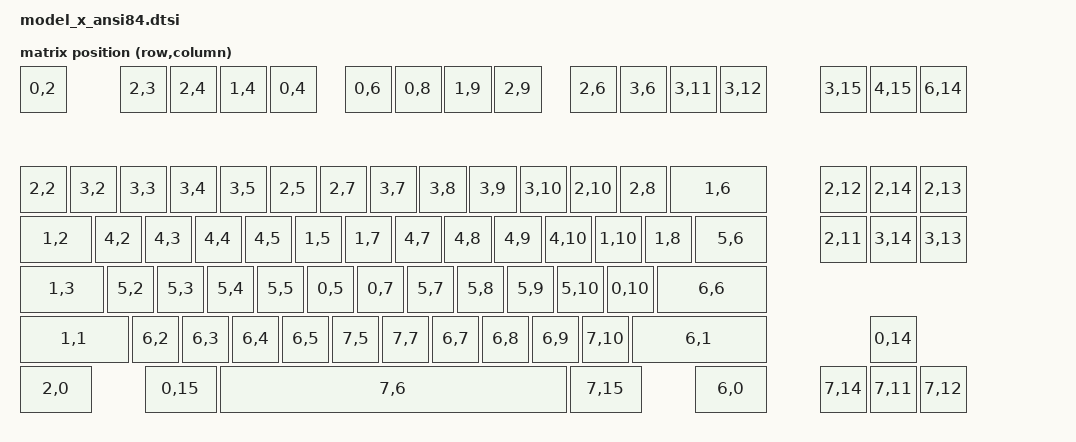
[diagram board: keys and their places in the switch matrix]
#include <dt-bindings/zmk/matrix_transform.h>
#include <physical_layouts.dtsi>

/ {

    ansi84_ph_layout: ansi84_ph_layout {
        compatible = "zmk,physical-layout";
        display-name = "ANSI 84";
        transform = <&ansi84_matrix_transform>;
        kscan = <&unified_kscan>;
        
        
        
        keys  //                     w   h    x    y     rot    rx    ry
            = <&key_physical_attrs 100 100    0    0       0     0     0>
            , <&key_physical_attrs 100 100  200    0       0     0     0>
            , <&key_physical_attrs 100 100  300    0       0     0     0>
            , <&key_physical_attrs 100 100  400    0       0     0     0>
            , <&key_physical_attrs 100 100  500    0       0     0     0>
            , <&key_physical_attrs 100 100  650    0       0     0     0>
            , <&key_physical_attrs 100 100  750    0       0     0     0>
            , <&key_physical_attrs 100 100  850    0       0     0     0>
            , <&key_physical_attrs 100 100  950    0       0     0     0>
            , <&key_physical_attrs 100 100  1100   0       0     0     0>
            , <&key_physical_attrs 100 100  1200   0       0     0     0>
            , <&key_physical_attrs 100 100  1300   0       0     0     0>
            , <&key_physical_attrs 100 100  1400   0       0     0     0>
            , <&key_physical_attrs 100 100  1600   0       0     0     0>
            , <&key_physical_attrs 100 100  1700   0       0     0     0>
            , <&key_physical_attrs 100 100  1800   0       0     0     0>

            , <&key_physical_attrs 100 100    0    200     0     0     0>
            , <&key_physical_attrs 100 100  100    200     0     0     0>
            , <&key_physical_attrs 100 100  200    200     0     0     0>
            , <&key_physical_attrs 100 100  300    200     0     0     0>
            , <&key_physical_attrs 100 100  400    200     0     0     0>
            , <&key_physical_attrs 100 100  500    200     0     0     0>
            , <&key_physical_attrs 100 100  600    200     0     0     0>
            , <&key_physical_attrs 100 100  700    200     0     0     0>
            , <&key_physical_attrs 100 100  800    200     0     0     0>
            , <&key_physical_attrs 100 100  900    200     0     0     0>
            , <&key_physical_attrs 100 100  1000   200     0     0     0>
            , <&key_physical_attrs 100 100  1100   200     0     0     0>
            , <&key_physical_attrs 100 100  1200   200     0     0     0>
            , <&key_physical_attrs 200 100  1300   200     0     0     0>
            , <&key_physical_attrs 100 100  1600   200     0     0     0>
            , <&key_physical_attrs 100 100  1700   200     0     0     0>
            , <&key_physical_attrs 100 100  1800   200     0     0     0>

            , <&key_physical_attrs 150 100    0    300     0     0     0>
            , <&key_physical_attrs 100 100  150    300     0     0     0>
            , <&key_physical_attrs 100 100  250    300     0     0     0>
            , <&key_physical_attrs 100 100  350    300     0     0     0>
            , <&key_physical_attrs 100 100  450    300     0     0     0>
            , <&key_physical_attrs 100 100  550    300     0     0     0>
            , <&key_physical_attrs 100 100  650    300     0     0     0>
            , <&key_physical_attrs 100 100  750    300     0     0     0>
            , <&key_physical_attrs 100 100  850    300     0     0     0>
            , <&key_physical_attrs 100 100  950    300     0     0     0>
            , <&key_physical_attrs 100 100  1050   300     0     0     0>
            , <&key_physical_attrs 100 100  1150   300     0     0     0>
            , <&key_physical_attrs 100 100  1250   300     0     0     0>
            , <&key_physical_attrs 150 100  1350   300     0     0     0>
            , <&key_physical_attrs 100 100  1600   300     0     0     0>
            , <&key_physical_attrs 100 100  1700   300     0     0     0>
            , <&key_physical_attrs 100 100  1800   300     0     0     0>

            , <&key_physical_attrs 175 100    0    400     0     0     0>
            , <&key_physical_attrs 100 100  175    400     0     0     0>
            , <&key_physical_attrs 100 100  275    400     0     0     0>
            , <&key_physical_attrs 100 100  375    400     0     0     0>
            , <&key_physical_attrs 100 100  475    400     0     0     0>
            , <&key_physical_attrs 100 100  575    400     0     0     0>
            , <&key_physical_attrs 100 100  675    400     0     0     0>
            , <&key_physical_attrs 100 100  775    400     0     0     0>
            , <&key_physical_attrs 100 100  875    400     0     0     0>
            , <&key_physical_attrs 100 100  975    400     0     0     0>
            , <&key_physical_attrs 100 100  1075   400     0     0     0>
            , <&key_physical_attrs 100 100  1175   400     0     0     0>
            , <&key_physical_attrs 225 100  1275   400     0     0     0>

            , <&key_physical_attrs 225 100    0    500     0     0     0>
            , <&key_physical_attrs 100 100  225    500     0     0     0>
            , <&key_physical_attrs 100 100  325    500     0     0     0>
            , <&key_physical_attrs 100 100  425    500     0     0     0>
            , <&key_physical_attrs 100 100  525    500     0     0     0>
            , <&key_physical_attrs 100 100  625    500     0     0     0>
            , <&key_physical_attrs 100 100  725    500     0     0     0>
            , <&key_physical_attrs 100 100  825    500     0     0     0>
            , <&key_physical_attrs 100 100  925    500     0     0     0>
            , <&key_physical_attrs 100 100  1025   500     0     0     0>
            , <&key_physical_attrs 100 100  1125   500     0     0     0>
            , <&key_physical_attrs 275 100  1225   500     0     0     0>
            , <&key_physical_attrs 100 100  1700   500     0     0     0>

            , <&key_physical_attrs 150 100    0    600     0     0     0>
            , <&key_physical_attrs 150 100  250    600     0     0     0>
            , <&key_physical_attrs 700 100  400    600     0     0     0>
            , <&key_physical_attrs 150 100  1100   600     0     0     0>
            , <&key_physical_attrs 150 100  1350   600     0     0     0>
            , <&key_physical_attrs 100 100  1600   600     0     0     0>
            , <&key_physical_attrs 100 100  1700   600     0     0     0>
            , <&key_physical_attrs 100 100  1800   600     0     0     0>
        ;
    };
    

    ansi84_matrix_transform: ansi84_matrix_transform {
        compatible = "zmk,matrix-transform";
        rows = <8>;
        columns = <16>;
        
        //  -------------------------------------------------------------------------------------------------------------------------
        //  | ESC   |       | F1    | F2    | F3    | F4    |   | F5    | F6    | F7    | F8    |   | F9    | F10   | F11   | F12   |       |PRT SCR| SLCK  |PAU_BRK|
        //  |  `    |  1    |  2    |  3    |  4    |  5    |  6    |  7    |  8    |  9    |  0    |  -    |  =    |   BKSP        |       |INSERT | HOME  |PAGE_UP|
        //  |    TAB    |  Q    |  W    |  E    |  R    |  T    |  Y    |  U    |  I    |  O    |  P    |   [   |   ]   |   "|\"    |       |DELETE |  END  |PAGE_DW|
        //  | CAPS        |   A   |   S   |   D   |   F   |   G   |   H   |   J   |   K   |   L   |   ;   |   '   |      ENTER      |                                
        //  |   LSHIFT        |   Z   |   X   |   C   |   V   |   B   |   N   |   M   |   ,   |   .   |   /   |        RSHIFT       |               |  UP   |        
        //  |   CTRL    |       |    ALT    |                        SPACE                          |   ALTGR   |       |   CTRL    |       | LEFT  | DOWN  | RIGHT |
        //  -------------------------------------------------------------------------------------------------------------------------
        map = <
        //  -------------------------------------------------------------------------------------------------------------------------
        //  | ESC   |       | F1    | F2    | F3    | F4    |   | F5    | F6    | F7    | F8    |   | F9    | F10   | F11   | F12   |       |PRT SCR| SLCK  |PAU_BRK|
            RC(0,2)         RC(2,3) RC(2,4) RC(1,4) RC(0,4)     RC(0,6) RC(0,8) RC(1,9) RC(2,9)     RC(2,6) RC(3,6) RC(3,11) RC(3,12)      RC(3,15) RC(4,15) RC(6,14)

        //  |  `    |  1    |  2    |  3    |  4    |  5    |  6    |  7    |  8    |  9    |  0    |  -    |  =    |   BKSP        |       |INSERT | HOME  |PAGE_UP|
            RC(2,2) RC(3,2) RC(3,3) RC(3,4) RC(3,5) RC(2,5) RC(2,7) RC(3,7) RC(3,8) RC(3,9) RC(3,10) RC(2,10) RC(2,8)   RC(1,6)            RC(2,12) RC(2,14) RC(2,13)

        //  |    TAB    |  Q    |  W    |  E    |  R    |  T    |  Y    |  U    |  I    |  O    |  P    |   [   |   ]   |   "|\"    |       |DELETE |  END  |PAGE_DW|
               RC(1,2)  RC(4,2) RC(4,3) RC(4,4) RC(4,5) RC(1,5) RC(1,7) RC(4,7) RC(4,8) RC(4,9) RC(4,10) RC(1,10) RC(1,8) RC(5,6)          RC(2,11) RC(3,14) RC(3,13)

        //  | CAPS        |   A   |   S   |   D   |   F   |   G   |   H   |   J   |   K   |   L   |   ;   |   '   |      ENTER      |                                
            RC(1,3)       RC(5,2) RC(5,3) RC(5,4) RC(5,5) RC(0,5) RC(0,7) RC(5,7) RC(5,8) RC(5,9) RC(5,10) RC(0,10)     RC(6,6)                                      

        //  |   LSHIFT        |   Z   |   X   |   C   |   V   |   B   |   N   |   M   |   ,   |   .   |   /   |        RSHIFT       |               |  UP   |        
            RC(1,1)           RC(6,2) RC(6,3) RC(6,4) RC(6,5) RC(7,5) RC(7,7) RC(6,7) RC(6,8) RC(6,9) RC(7,10)          RC(6,1)                     RC(0,14)         

        //  |   CTRL    |       |    ALT    |                        SPACE                          |   ALTGR   |       |   CTRL    |       | LEFT  | DOWN  | RIGHT |
            RC(2,0)                RC(0,15)                         RC(7,6)                            RC(7,15)            RC(6,0)         RC(7,14) RC(7,11) RC(7,12)
        //  -------------------------------------------------------------------------------------------------------------------------
        >;
    };
    
};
